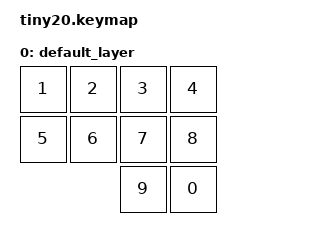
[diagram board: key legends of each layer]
/*
 * Copyright (c) 2020 The ZMK Contributors
 *
 * SPDX-License-Identifier: MIT
 */

#include <behaviors.dtsi>
#include <dt-bindings/zmk/keys.h>
#include <dt-bindings/zmk/bt.h>

{
    keymap {
        compatible = "zmk,keymap";

        default_layer {
            bindings = <
                &kp N1  &kp N2  &kp N3  &kp N4
                &kp N5  &kp N6  &kp N7  &kp N8
                                &kp N9  &kp N0
            >;
        };
    }
}
